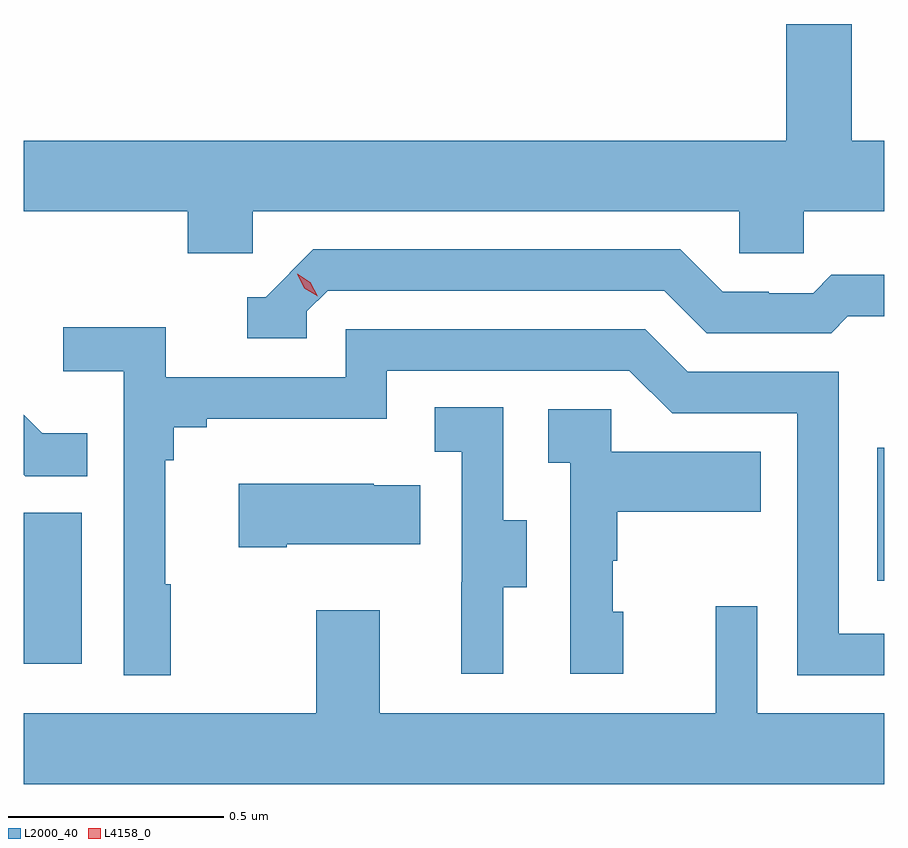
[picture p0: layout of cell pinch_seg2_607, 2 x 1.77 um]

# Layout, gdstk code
import gdstk
lib = gdstk.Library(unit=1e-6, precision=1e-09)
def R(c, l, rs):  # rectangles x0, y0, x1, y1
    for r in rs: c.add(gdstk.rectangle(r[:2], r[2:], *l))
def P(c, l, *ps):  # polygons
    for p in ps: c.add(gdstk.Polygon(p, *l))
L2000_40 = (2000, 40)
L4158_0 = (4158, 0)

pinch_seg2_607 = lib.new_cell('pinch_seg2_607')
R(pinch_seg2_607, L2000_40, [(1073.57,622.608,1073.704,622.959), (1075.554,622.8,1075.57,623.11)])
P(pinch_seg2_607, L2000_40, [(1074.102,623.66),(1075.233,623.66),(1075.233,623.562),(1075.383,623.562),(1075.383,623.66),(1075.57,623.66),(1075.57,623.824),(1075.495,623.824),(1075.495,624.095),(1075.343,624.095),(1075.343,623.824),(1073.57,623.824),(1073.57,623.66),(1073.951,623.66),(1073.951,623.562),(1074.102,623.562)],
  [(1074.228,623.427),(1074.276,623.475),(1075.059,623.475),(1075.158,623.376),(1075.447,623.376),(1075.486,623.415),(1075.57,623.415),(1075.57,623.512),(1075.447,623.512),(1075.405,623.469),(1075.302,623.469),(1075.302,623.472),(1075.195,623.472),(1075.096,623.571),(1074.243,623.571),(1074.132,623.46),(1074.089,623.46),(1074.089,623.364),(1074.228,623.364)],
  [(1073.911,622.793),(1073.899,622.793),(1073.899,623.081),(1073.918,623.081),(1073.918,623.158),(1073.995,623.158),(1073.995,623.177),(1074.414,623.177),(1074.414,623.289),(1074.978,623.289),(1075.077,623.19),(1075.368,623.19),(1075.368,622.581),(1075.57,622.581),(1075.57,622.677),(1075.464,622.677),(1075.464,623.286),(1075.114,623.286),(1075.015,623.385),(1074.318,623.385),(1074.318,623.274),(1073.9,623.274),(1073.9,623.39),(1073.661,623.39),(1073.661,623.288),(1073.802,623.288),(1073.802,622.581),(1073.911,622.581)],
  [(1074.685,622.786),(1074.739,622.786),(1074.739,622.941),(1074.684,622.941),(1074.684,623.204),(1074.525,623.204),(1074.525,623.101),(1074.588,623.101),(1074.588,622.797),(1074.587,622.797),(1074.587,622.584),(1074.685,622.584)],
  [(1074.964,622.728),(1074.939,622.728),(1074.939,622.847),(1074.949,622.847),(1074.949,622.961),(1075.283,622.961),(1075.283,623.101),(1074.936,623.101),(1074.936,623.199),(1074.789,623.199),(1074.789,623.075),(1074.84,623.075),(1074.84,622.584),(1074.964,622.584)],
  [(1073.717,623.143),(1073.613,623.143),(1073.57,623.186),(1073.57,623.047),(1073.573,623.044),(1073.717,623.044)],
  [(1074.181,622.886),(1074.491,622.886),(1074.491,623.023),(1074.383,623.023),(1074.383,623.026),(1074.069,623.026),(1074.069,622.879),(1074.181,622.879)],
  [(1075.57,622.492),(1075.275,622.492),(1075.275,622.741),(1075.178,622.741),(1075.178,622.492),(1074.397,622.492),(1074.397,622.732),(1074.25,622.732),(1074.25,622.492),(1073.57,622.492),(1073.57,622.328),(1075.57,622.328)])
P(pinch_seg2_607, L4158_0, [(1074.253,623.462),(1074.222,623.481),(1074.205,623.513),(1074.205,623.514),(1074.206,623.514),(1074.236,623.494),(1074.253,623.462),(1074.253,623.462)])

lib.write_gds('pinch_seg2_607.gds')
